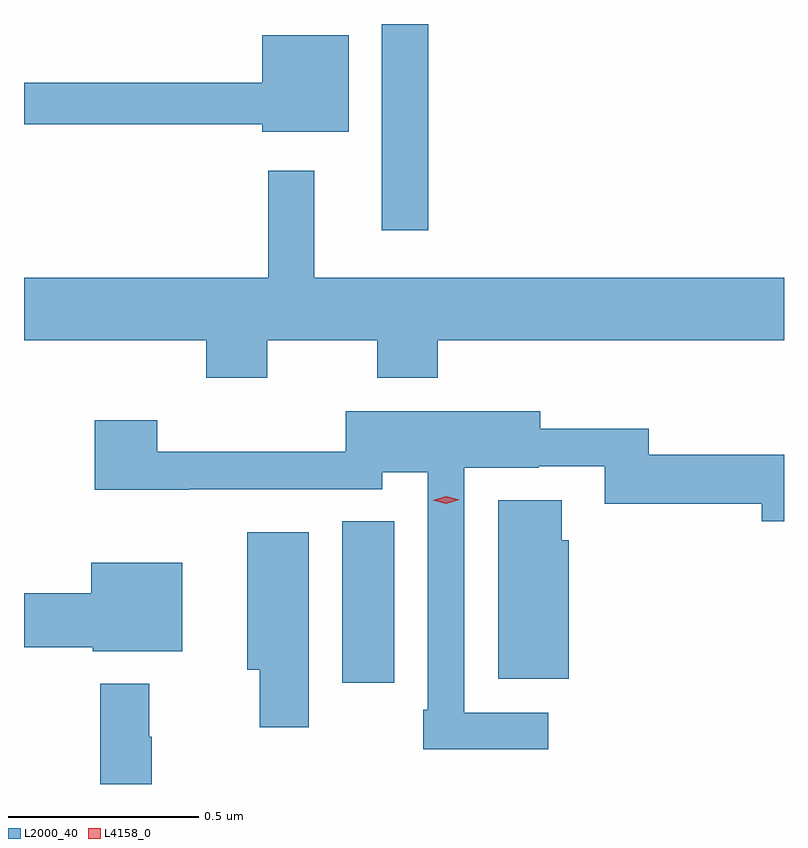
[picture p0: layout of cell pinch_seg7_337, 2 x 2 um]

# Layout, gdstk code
import gdstk
lib = gdstk.Library(unit=1e-6, precision=1e-09)
def R(c, l, rs):  # rectangles x0, y0, x1, y1
    for r in rs: c.add(gdstk.rectangle(r[:2], r[2:], *l))
def P(c, l, *ps):  # polygons
    for p in ps: c.add(gdstk.Polygon(p, *l))
L2000_40 = (2000, 40)
L4158_0 = (4158, 0)

pinch_seg7_337 = lib.new_cell('pinch_seg7_337')
R(pinch_seg7_337, L2000_40, [(400.004,1045.002,400.141,1045.427), (400.109,1046.193,400.231,1046.736)])
P(pinch_seg7_337, L2000_40, [(400.021,1046.707),(399.794,1046.707),(399.794,1046.582),(399.167,1046.582),(399.167,1046.472),(399.794,1046.472),(399.794,1046.453),(400.021,1046.453)],
  [(399.807,1045.904),(400.096,1045.904),(400.096,1045.805),(400.256,1045.805),(400.256,1045.904),(401.167,1045.904),(401.167,1046.068),(399.931,1046.068),(399.931,1046.35),(399.81,1046.35),(399.81,1046.068),(399.167,1046.068),(399.167,1045.904),(399.647,1045.904),(399.647,1045.805),(399.807,1045.805)],
  [(400.546,1044.924),(400.326,1044.924),(400.326,1045.568),(400.521,1045.568),(400.521,1045.572),(400.695,1045.572),(400.695,1045.474),(401.108,1045.474),(401.108,1045.427),(401.167,1045.427),(401.167,1045.603),(400.811,1045.603),(400.811,1045.671),(400.525,1045.671),(400.525,1045.717),(400.014,1045.717),(400.014,1045.61),(399.518,1045.61),(399.518,1045.693),(399.353,1045.693),(399.353,1045.511),(399.601,1045.511),(399.601,1045.512),(400.11,1045.512),(400.11,1045.556),(400.23,1045.556),(400.23,1044.931),(400.218,1044.931),(400.218,1044.828),(400.546,1044.828)],
  [(400.6,1045.377),(400.582,1045.377),(400.582,1045.483),(400.415,1045.483),(400.415,1045.013),(400.6,1045.013)],
  [(399.916,1045.399),(399.755,1045.399),(399.755,1045.037),(399.787,1045.037),(399.787,1044.885),(399.916,1044.885)],
  [(399.583,1045.318),(399.344,1045.318),(399.344,1045.238),(399.167,1045.238),(399.167,1045.096),(399.348,1045.096),(399.348,1045.085),(399.583,1045.085)],
  [(399.503,1044.86),(399.496,1044.86),(399.496,1045),(399.367,1045),(399.367,1044.736),(399.503,1044.736)])
P(pinch_seg7_337, L4158_0, [(400.278,1045.474),(400.243,1045.483),(400.243,1045.483),(400.243,1045.483),(400.278,1045.493),(400.312,1045.484),(400.313,1045.484),(400.312,1045.484)])

lib.write_gds('pinch_seg7_337.gds')
